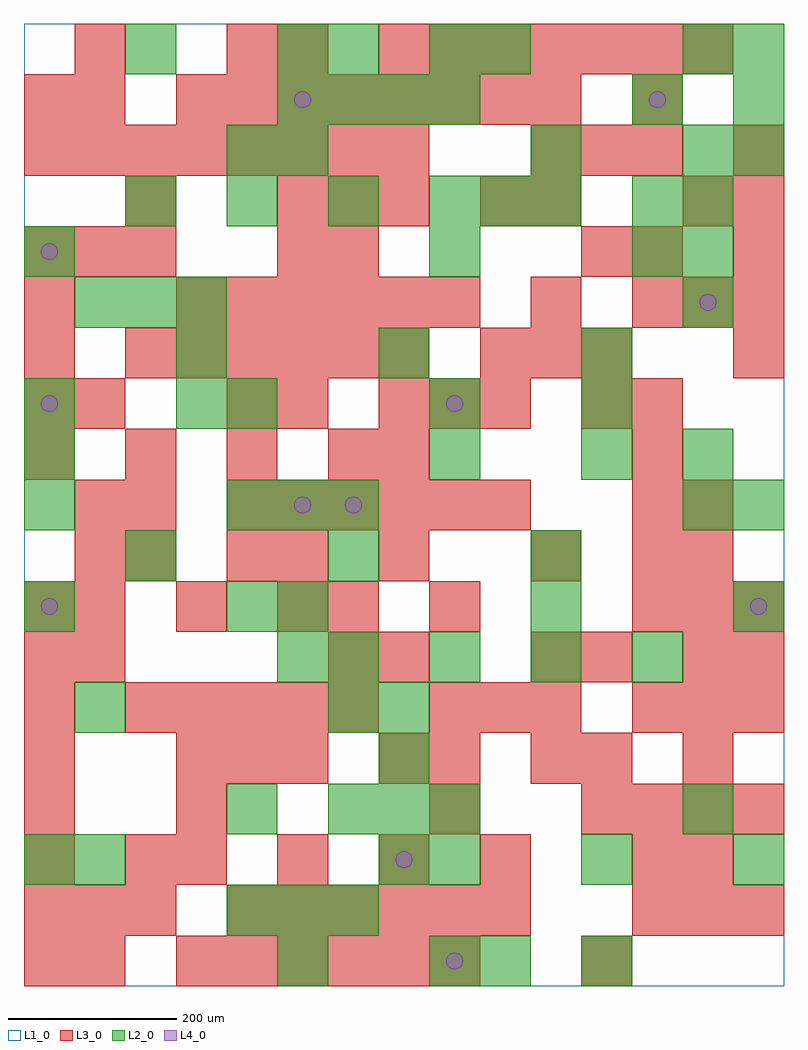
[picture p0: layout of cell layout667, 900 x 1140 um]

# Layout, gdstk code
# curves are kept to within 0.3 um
import gdstk
lib = gdstk.Library(unit=1e-6, precision=1e-09)
def R(c, l, rs):  # rectangles x0, y0, x1, y1
    for r in rs: c.add(gdstk.rectangle(r[:2], r[2:], *l))
def A(c, l, x, y, w, h, nx, ny, dx, dy):  # array of equal rectangles
    R(c, l, [(x+i*dx, y+j*dy, x+i*dx+w, y+j*dy+h) for i in range(nx) for j in range(ny)])
def P(c, l, *ps):  # polygons
    for p in ps: c.add(gdstk.Polygon(p, *l))
L1_0 = (1, 0)
L2_0 = (2, 0)
L3_0 = (3, 0)
L4_0 = (4, 0)

layout667 = lib.new_cell('layout667')
R(layout667, L1_0, [(0,0,900,1140)])
A(layout667, L2_0, 240, 60, 60, 60, 3, 2, 60, 480)
A(layout667, L2_0, 480, 120, 60, 60, 3, 1, 180, 0)
A(layout667, L2_0, 240, 180, 60, 60, 1, 3, 0, 240)
A(layout667, L2_0, 360, 180, 60, 60, 3, 1, 60, 0)
A(layout667, L2_0, 360, 360, 60, 60, 4, 1, 120, 0)
A(layout667, L2_0, 120, 480, 60, 60, 3, 1, 240, 0)
A(layout667, L2_0, 0, 540, 60, 60, 1, 3, 0, 60)
A(layout667, L2_0, 180, 720, 60, 60, 3, 1, 240, 0)
A(layout667, L2_0, 60, 780, 60, 60, 3, 1, 60, 0)
A(layout667, L2_0, 780, 780, 60, 60, 1, 4, 0, 60)
A(layout667, L2_0, 120, 900, 60, 60, 4, 1, 120, 0)
A(layout667, L2_0, 840, 960, 60, 60, 1, 3, 0, 60)
A(layout667, L2_0, 300, 1020, 60, 60, 4, 1, 60, 0)
R(layout667, L2_0, [(300,0,360,60), (480,0,540,60), (540,0,600,60), (660,0,720,60), (0,120,60,180), (60,120,120,180), (420,120,480,180), (780,180,840,240), (420,240,480,300), (60,300,120,360), (360,300,420,360), (420,300,480,360), (300,360,360,420), (0,420,60,480), (300,420,360,480), (600,420,660,480), (840,420,900,480), (780,540,840,600), (840,540,900,600), (480,600,540,660), (660,600,720,660), (780,600,840,660), (180,660,240,720), (480,660,540,720), (660,660,720,720), (0,840,60,900), (480,840,540,900), (720,840,780,900), (540,900,600,960), (600,900,660,960), (720,900,780,960), (240,960,300,1020), (300,960,360,1020), (600,960,660,1020), (720,1020,780,1080), (120,1080,180,1140), (300,1080,360,1140), (360,1080,420,1140), (480,1080,540,1140), (540,1080,600,1140), (780,1080,840,1140)])
A(layout667, L3_0, 180, 0, 60, 60, 6, 2, 60, 780)
A(layout667, L3_0, 0, 60, 60, 60, 3, 2, 60, 780)
A(layout667, L3_0, 240, 60, 60, 60, 6, 2, 60, 480)
A(layout667, L3_0, 720, 60, 60, 60, 3, 2, 60, 240)
A(layout667, L3_0, 0, 120, 60, 60, 1, 6, 0, 60)
A(layout667, L3_0, 180, 120, 60, 60, 4, 1, 120, 0)
A(layout667, L3_0, 780, 120, 60, 60, 1, 4, 0, 120)
A(layout667, L3_0, 660, 180, 60, 60, 4, 1, 60, 0)
A(layout667, L3_0, 180, 240, 60, 60, 3, 1, 60, 0)
A(layout667, L3_0, 420, 240, 60, 60, 1, 4, 0, 120)
A(layout667, L3_0, 600, 240, 60, 60, 1, 3, 0, 120)
A(layout667, L3_0, 120, 300, 60, 60, 5, 1, 60, 0)
A(layout667, L3_0, 480, 300, 60, 60, 3, 1, 60, 0)
A(layout667, L3_0, 60, 420, 60, 60, 3, 1, 120, 0)
A(layout667, L3_0, 720, 420, 60, 60, 3, 2, 60, 360)
A(layout667, L3_0, 300, 480, 60, 60, 1, 3, 0, 180)
A(layout667, L3_0, 720, 480, 60, 60, 1, 4, 0, 60)
A(layout667, L3_0, 0, 600, 60, 60, 4, 1, 120, 0)
A(layout667, L3_0, 0, 660, 60, 60, 1, 3, 0, 60)
A(layout667, L3_0, 420, 660, 60, 60, 3, 1, 60, 0)
A(layout667, L3_0, 120, 720, 60, 60, 6, 1, 60, 0)
A(layout667, L3_0, 540, 720, 60, 60, 3, 1, 60, 0)
A(layout667, L3_0, 840, 840, 60, 60, 1, 3, 0, 60)
A(layout667, L3_0, 300, 900, 60, 60, 3, 1, 60, 0)
A(layout667, L3_0, 0, 960, 60, 60, 8, 1, 60, 0)
A(layout667, L3_0, 600, 960, 60, 60, 3, 1, 60, 0)
A(layout667, L3_0, 180, 1020, 60, 60, 8, 1, 60, 0)
A(layout667, L3_0, 420, 1080, 60, 60, 7, 1, 60, 0)
R(layout667, L3_0, [(0,0,60,60), (60,0,120,60), (660,0,720,60), (120,120,180,180), (720,120,780,180), (180,180,240,240), (480,180,540,240), (480,240,540,300), (660,240,720,300), (60,360,120,420), (360,360,420,420), (660,360,720,420), (840,360,900,420), (360,420,420,480), (480,420,540,480), (60,480,120,540), (120,480,180,540), (240,480,300,540), (60,540,120,600), (120,540,180,600), (780,540,840,600), (60,660,120,720), (240,660,300,720), (660,660,720,720), (840,720,900,780), (600,780,660,840), (360,840,420,900), (660,840,720,900), (720,840,780,900), (120,900,180,960), (540,900,600,960), (600,900,660,960), (780,900,840,960), (0,1020,60,1080), (60,1020,120,1080), (720,1020,780,1080), (60,1080,120,1140), (240,1080,300,1140), (300,1080,360,1140)])
P(layout667, L4_0, [(40,450),(39.239,453.827),(37.071,457.071),(33.827,459.239),(30,460),(26.173,459.239),(22.929,457.071),(20.761,453.827),(20,450),(20.761,446.173),(22.929,442.929),(26.173,440.761),(30,440),(33.827,440.761),(37.071,442.929),(39.239,446.173)],
  [(40,690),(39.239,693.827),(37.071,697.071),(33.827,699.239),(30,700),(26.173,699.239),(22.929,697.071),(20.761,693.827),(20,690),(20.761,686.173),(22.929,682.929),(26.173,680.761),(30,680),(33.827,680.761),(37.071,682.929),(39.239,686.173)],
  [(40,870),(39.239,873.827),(37.071,877.071),(33.827,879.239),(30,880),(26.173,879.239),(22.929,877.071),(20.761,873.827),(20,870),(20.761,866.173),(22.929,862.929),(26.173,860.761),(30,860),(33.827,860.761),(37.071,862.929),(39.239,866.173)],
  [(340,570),(339.239,573.827),(337.071,577.071),(333.827,579.239),(330,580),(326.173,579.239),(322.929,577.071),(320.761,573.827),(320,570),(320.761,566.173),(322.929,562.929),(326.173,560.761),(330,560),(333.827,560.761),(337.071,562.929),(339.239,566.173)],
  [(340,1050),(339.239,1053.827),(337.071,1057.071),(333.827,1059.239),(330,1060),(326.173,1059.239),(322.929,1057.071),(320.761,1053.827),(320,1050),(320.761,1046.173),(322.929,1042.929),(326.173,1040.761),(330,1040),(333.827,1040.761),(337.071,1042.929),(339.239,1046.173)],
  [(400,570),(399.239,573.827),(397.071,577.071),(393.827,579.239),(390,580),(386.173,579.239),(382.929,577.071),(380.761,573.827),(380,570),(380.761,566.173),(382.929,562.929),(386.173,560.761),(390,560),(393.827,560.761),(397.071,562.929),(399.239,566.173)],
  [(460,150),(459.239,153.827),(457.071,157.071),(453.827,159.239),(450,160),(446.173,159.239),(442.929,157.071),(440.761,153.827),(440,150),(440.761,146.173),(442.929,142.929),(446.173,140.761),(450,140),(453.827,140.761),(457.071,142.929),(459.239,146.173)],
  [(520,30),(519.239,33.827),(517.071,37.071),(513.827,39.239),(510,40),(506.173,39.239),(502.929,37.071),(500.761,33.827),(500,30),(500.761,26.173),(502.929,22.929),(506.173,20.761),(510,20),(513.827,20.761),(517.071,22.929),(519.239,26.173)],
  [(520,690),(519.239,693.827),(517.071,697.071),(513.827,699.239),(510,700),(506.173,699.239),(502.929,697.071),(500.761,693.827),(500,690),(500.761,686.173),(502.929,682.929),(506.173,680.761),(510,680),(513.827,680.761),(517.071,682.929),(519.239,686.173)],
  [(760,1050),(759.239,1053.827),(757.071,1057.071),(753.827,1059.239),(750,1060),(746.173,1059.239),(742.929,1057.071),(740.761,1053.827),(740,1050),(740.761,1046.173),(742.929,1042.929),(746.173,1040.761),(750,1040),(753.827,1040.761),(757.071,1042.929),(759.239,1046.173)],
  [(820,810),(819.239,813.827),(817.071,817.071),(813.827,819.239),(810,820),(806.173,819.239),(802.929,817.071),(800.761,813.827),(800,810),(800.761,806.173),(802.929,802.929),(806.173,800.761),(810,800),(813.827,800.761),(817.071,802.929),(819.239,806.173)],
  [(880,450),(879.239,453.827),(877.071,457.071),(873.827,459.239),(870,460),(866.173,459.239),(862.929,457.071),(860.761,453.827),(860,450),(860.761,446.173),(862.929,442.929),(866.173,440.761),(870,440),(873.827,440.761),(877.071,442.929),(879.239,446.173)])

lib.write_gds('layout667.gds')
